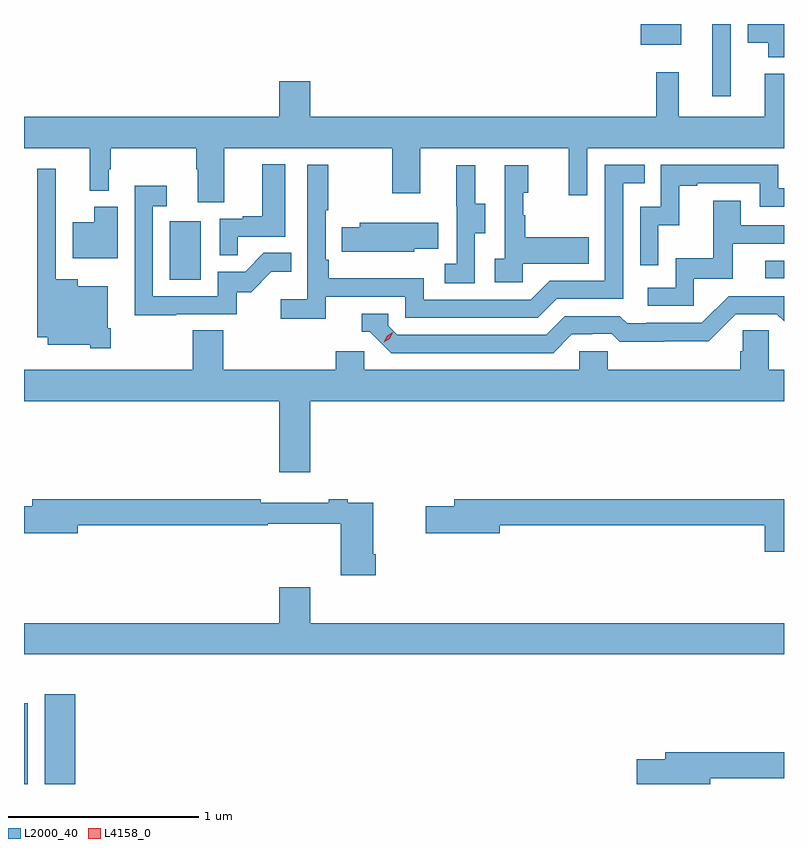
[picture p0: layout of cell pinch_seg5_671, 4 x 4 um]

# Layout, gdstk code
import gdstk
lib = gdstk.Library(unit=1e-6, precision=1e-09)
def R(c, l, rs):  # rectangles x0, y0, x1, y1
    for r in rs: c.add(gdstk.rectangle(r[:2], r[2:], *l))
def P(c, l, *ps):  # polygons
    for p in ps: c.add(gdstk.Polygon(p, *l))
L2000_40 = (2000, 40)
L4158_0 = (4158, 0)

pinch_seg5_671 = lib.new_cell('pinch_seg5_671')
R(pinch_seg5_671, L2000_40, [(1014.813,834.765,1014.834,835.19), (1014.923,834.765,1015.084,835.237), (1015.58,837.42,1015.744,837.727), (1018.713,837.426,1018.813,837.519), (1018.436,838.386,1018.533,838.765), (1018.058,838.655,1018.273,838.765)])
P(pinch_seg5_671, L2000_40, [(1018.813,838.765),(1018.622,838.765),(1018.622,838.667),(1018.73,838.667),(1018.73,838.589),(1018.813,838.589)],
  [(1015.867,838.112),(1016.752,838.112),(1016.752,837.873),(1016.899,837.873),(1016.899,838.112),(1017.68,838.112),(1017.68,837.864),(1017.777,837.864),(1017.777,838.112),(1018.813,838.112),(1018.813,838.504),(1018.712,838.504),(1018.712,838.276),(1018.259,838.276),(1018.259,838.51),(1018.141,838.51),(1018.141,838.276),(1016.32,838.276),(1016.32,838.465),(1016.156,838.465),(1016.156,838.276),(1014.813,838.276),(1014.813,838.112),(1015.16,838.112),(1015.16,837.887),(1015.258,837.887),(1015.258,838),(1015.27,838),(1015.27,838.112),(1015.72,838.112),(1015.72,838),(1015.727,838),(1015.727,837.826),(1015.867,837.826)],
  [(1015.937,837.645),(1016.188,837.645),(1016.188,838.027),(1016.066,838.027),(1016.066,837.754),(1015.963,837.754),(1015.963,837.741),(1015.842,837.741),(1015.842,837.547),(1015.937,837.547)],
  [(1016.402,837.33),(1016.82,837.33),(1016.82,837.219),(1017.517,837.219),(1017.616,837.318),(1017.966,837.318),(1017.966,837.927),(1018.079,837.927),(1018.079,838.023),(1017.87,838.023),(1017.87,837.414),(1017.579,837.414),(1017.48,837.315),(1016.916,837.315),(1016.916,837.427),(1016.417,837.427),(1016.417,837.523),(1016.4,837.523),(1016.4,837.784),(1016.413,837.784),(1016.413,838.024),(1016.304,838.024),(1016.304,837.316),(1016.163,837.316),(1016.163,837.214),(1016.402,837.214)],
  [(1018.152,837.707),(1018.262,837.707),(1018.262,837.915),(1018.357,837.915),(1018.357,837.927),(1018.686,837.927),(1018.686,837.804),(1018.813,837.804),(1018.813,837.9),(1018.782,837.9),(1018.782,838.023),(1018.164,838.023),(1018.164,837.804),(1018.056,837.804),(1018.056,837.495),(1018.152,837.495)],
  [(1017.438,837.503),(1017.785,837.503),(1017.785,837.643),(1017.451,837.643),(1017.451,837.758),(1017.441,837.758),(1017.441,837.876),(1017.466,837.876),(1017.466,838.021),(1017.342,838.021),(1017.342,837.53),(1017.291,837.53),(1017.291,837.405),(1017.438,837.405)],
  [(1017.186,837.664),(1017.241,837.664),(1017.241,837.819),(1017.187,837.819),(1017.187,838.021),(1017.089,838.021),(1017.089,837.807),(1017.09,837.807),(1017.09,837.503),(1017.027,837.503),(1017.027,837.4),(1017.186,837.4)],
  [(1015.269,837.163),(1015.255,837.163),(1015.255,837.385),(1015.096,837.385),(1015.096,837.421),(1014.981,837.421),(1014.981,838.003),(1014.884,838.003),(1014.884,837.116),(1014.938,837.116),(1014.938,837.077),(1015.161,837.077),(1015.161,837.059),(1015.269,837.059)],
  [(1015.613,837.237),(1015.932,837.237),(1015.932,837.354),(1016.008,837.354),(1016.115,837.461),(1016.219,837.461),(1016.219,837.56),(1016.076,837.56),(1015.978,837.462),(1015.833,837.462),(1015.833,837.333),(1015.491,837.333),(1015.491,837.807),(1015.564,837.807),(1015.564,837.913),(1015.395,837.913),(1015.395,837.232),(1015.613,837.232)],
  [(1018.338,837.423),(1018.543,837.423),(1018.543,837.609),(1018.813,837.609),(1018.813,837.705),(1018.585,837.705),(1018.585,837.835),(1018.441,837.835),(1018.441,837.532),(1018.242,837.532),(1018.242,837.378),(1018.095,837.378),(1018.095,837.282),(1018.338,837.282)],
  [(1015.306,837.802),(1015.184,837.802),(1015.184,837.721),(1015.07,837.721),(1015.07,837.533),(1015.306,837.533)],
  [(1016.868,837.581),(1016.993,837.581),(1016.993,837.718),(1016.579,837.718),(1016.579,837.696),(1016.485,837.696),(1016.485,837.567),(1016.596,837.567),(1016.596,837.566),(1016.868,837.566)],
  [(1017.697,837.132),(1017.804,837.132),(1017.804,837.135),(1017.907,837.135),(1017.949,837.093),(1018.182,837.093),(1018.182,837.095),(1018.418,837.095),(1018.56,837.237),(1018.776,837.237),(1018.813,837.2),(1018.813,837.333),(1018.521,837.333),(1018.38,837.192),(1018.087,837.192),(1018.087,837.189),(1017.988,837.189),(1017.949,837.228),(1017.66,837.228),(1017.561,837.129),(1016.778,837.129),(1016.73,837.177),(1016.73,837.24),(1016.591,837.24),(1016.591,837.144),(1016.634,837.144),(1016.745,837.033),(1017.598,837.033)],
  [(1016.32,836.78),(1018.813,836.78),(1018.813,836.944),(1018.734,836.944),(1018.734,837.152),(1018.597,837.152),(1018.597,837.042),(1018.583,837.042),(1018.583,836.944),(1017.885,836.944),(1017.885,837.042),(1017.735,837.042),(1017.735,836.944),(1016.604,836.944),(1016.604,837.042),(1016.453,837.042),(1016.453,836.944),(1015.862,836.944),(1015.862,837.152),(1015.702,837.152),(1015.702,836.944),(1014.813,836.944),(1014.813,836.78),(1016.156,836.78),(1016.156,836.406),(1016.32,836.406)],
  [(1018.813,836.264),(1017.077,836.264),(1017.077,836.228),(1016.928,836.228),(1016.928,836.086),(1017.316,836.086),(1017.316,836.128),(1018.712,836.128),(1018.712,835.988),(1018.813,835.988)],
  [(1016.663,835.975),(1016.65,835.975),(1016.65,836.244),(1016.516,836.244),(1016.516,836.264),(1016.416,836.264),(1016.416,836.245),(1016.06,836.245),(1016.06,836.264),(1014.857,836.264),(1014.857,836.228),(1014.813,836.228),(1014.813,836.086),(1015.096,836.086),(1015.096,836.128),(1016.096,836.128),(1016.096,836.136),(1016.48,836.136),(1016.48,835.863),(1016.663,835.863)],
  [(1018.813,835.612),(1016.32,835.612),(1016.32,835.801),(1016.156,835.801),(1016.156,835.612),(1014.813,835.612),(1014.813,835.448),(1018.813,835.448)],
  [(1018.426,834.796),(1018.813,834.796),(1018.813,834.932),(1018.187,834.932),(1018.187,834.896),(1018.038,834.896),(1018.038,834.765),(1018.426,834.765)])
P(pinch_seg5_671, L4158_0, [(1016.707,837.091),(1016.707,837.091),(1016.724,837.123),(1016.755,837.142),(1016.755,837.142),(1016.755,837.142),(1016.738,837.109),(1016.707,837.091)])

lib.write_gds('pinch_seg5_671.gds')
